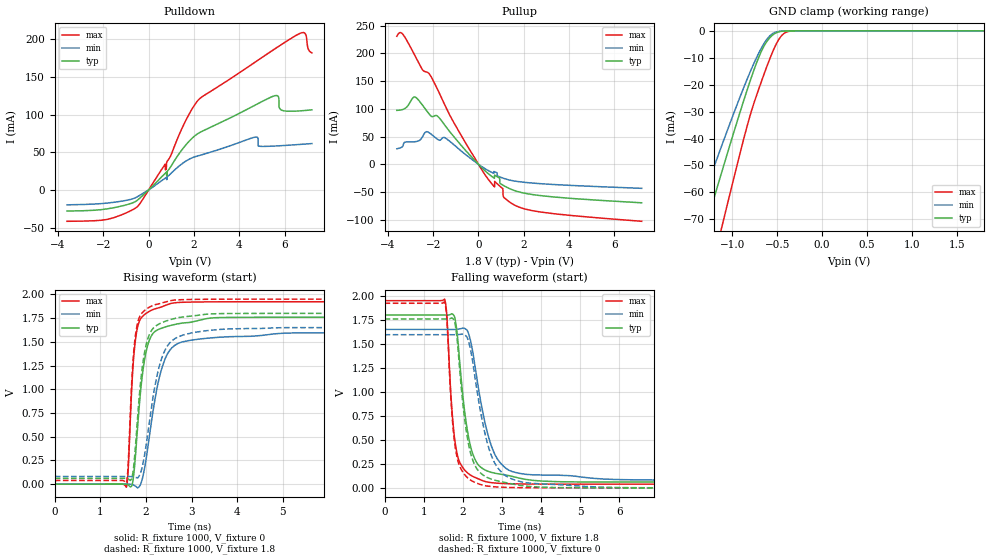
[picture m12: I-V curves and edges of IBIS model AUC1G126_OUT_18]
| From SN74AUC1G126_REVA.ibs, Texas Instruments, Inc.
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[Model]   AUC1G126_OUT_18
Model_type  3-state
Enable   Active-Low
Vref =   0
Rref =   1000
Cref =   30p
Vmeas =   0.9
| variable   typ   min   max
C_comp   7.41pF   5.09pF   18.55pF
| C_pullup   6.34pF   3.32pF   11.74pF
| C_pulldown   9.19pF   5.45pF   19.79pF
| C_tri-state   7.41pF   5.09pF   18.55pF
[Temperature Range]   40   100   -40
| Ambient temperature   25   85   -40
[Voltage range]   1.8   1.65   1.95
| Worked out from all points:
|   slope of the pulldown table from 0 to 0.27 V, typ, clamps not added: 34.4 ohm
|   slope of the pullup table from 0 to 0.27 V, typ, clamps not added: 24.6 ohm
|   GND clamp passes 1 mA (typ) near -0.53 V on its own axis
|   rising waveform, R_fixture 1000, V_fixture 0: 20-80 % time 231ps typ, 365ps min, 142ps max; typ from 0 V to 1.76 V
|   falling waveform, R_fixture 1000, V_fixture 1.8: 20-80 % time 320ps typ, 483ps min, 201ps max; typ from 1.8 V to 0.061 V
|   rising waveform, R_fixture 1000, V_fixture 1.8: 20-80 % time 226ps typ, 354ps min, 139ps max; typ from 0.061 V to 1.8 V
|   falling waveform, R_fixture 1000, V_fixture 0: 20-80 % time 319ps typ, 479ps min, 201ps max; typ from 1.76 V to 0 V
[GND Clamp]
| AUC1G126_OUT_18
|   Voltage   I(typ)   I(min)   I(max)
-3.6V     -338.8mA   -286.3mA   -409.7mA
-1.44V    -88.88mA   -72.66mA   -117.1mA
-1.285V   -71.24mA   -58.05mA   -95.84mA
-1.14V    -54.92mA   -44.63mA   -75.98mA
-1.095V   -49.91mA   -40.54mA   -69.84mA
-840mV    -22.47mA   -18.35mA   -35.96mA
-695mV    -8.981mA   -7.553mA   -20.59mA
-575mV    -2.299mA   -1.652mA   -9.733mA
-490mV    -465.5uA   -257.7uA   -3.617mA
-425mV    -91.45uA   -52.83uA   -990.1uA
-275mV    -1.057uA   -972.3nA   -6.251uA
1.8V      429.2pA    31.06nA    480.6pA
[Pulldown]
| AUC1G126_OUT_18
|   Voltage   I(typ)   I(min)   I(max)
-3.6V     -28.02mA   -19.77mA   -41.61mA
-570mV    -15.18mA   -10.2mA    -23.87mA
780mV     23.41mA    16.52mA    27.8mA
1.53V     55.61mA    35.96mA    85.47mA
2.26V     76.24mA    45.87mA    121.3mA
4.705V    112.6mA    70.03mA    169.6mA
4.835V    114.6mA    58.3mA     172.3mA
5.575V    125mA      58.22mA    187.2mA
5.845V    106.1mA    58.68mA    192.6mA
6.69V     104.8mA    60.37mA    207.8mA
6.915V    105.4mA    60.85mA    206.9mA
7.2V      106.2mA    61.47mA    181.7mA
[Pullup]
| AUC1G126_OUT_18
|   Voltage   I(typ)   I(min)   I(max)
-3.6V     97.21mA    27.98mA    230.6mA
-3.35V    98.65mA    32.03mA    234.9mA
-2.755V   120.2mA    40.97mA    192.2mA
-2.295V   97.07mA    58.73mA    166.3mA
-1.495V   71.17mA    48.15mA    108mA
225mV     -9.265mA   -6.217mA   -14.9mA
710mV     -19.38mA   -13.4mA    -40.76mA
1.075V    -37.42mA   -24.78mA   -43.8mA
1.095V    -37.9mA    -25.06mA   -57.63mA
1.31V     -42.56mA   -27.71mA   -66.07mA
2.685V    -56.12mA   -34.74mA   -85.59mA
7.2V      -69.32mA   -43.26mA   -102.6mA
[Ramp]
| AUC1G126_OUT_18
| variable   typ   min   max
dV/dt_r   1.07/2.35E-10   0.98/3.72E-10   1.17/1.44E-10
dV/dt_f   1.05/3.24E-10   0.95/4.90E-10   1.16/2.03E-10
R_load = 1000
[Rising Waveform]
| AUC1G126_OUT_18
R_fixture =   1000
C_fixture =   0
L_fixture =   0
V_fixture =   0
V_fixture_min = 0
V_fixture_max = 0
|   Time   V(typ)   V(min)   V(max)
0s        6.96nV     23.5nV     1.103nV
1.57ns    -833.4uV   600.2uV    -32.45mV
1.61ns    -7.363mV   754.3uV    146mV
1.705ns   9.895mV    -5.155mV   1.153V
1.825ns   650.3mV    -38.09mV   1.671V
1.94ns    1.217V     94.47mV    1.775V
2.07ns    1.51V      483.5mV    1.82V
2.325ns   1.64V      1.183V     1.865V
2.63ns    1.683V     1.462V     1.911V
34.99ns   1.759V     1.595V     1.923V
[Falling Waveform]
| AUC1G126_OUT_18
R_fixture =   1000
C_fixture =   0
L_fixture =   0
V_fixture =   1.8
V_fixture_min = 1.65
V_fixture_max = 1.95
|   Time   V(typ)   V(min)   V(max)
0s        1.8V       1.65V      1.95V
1.535ns   1.8V       1.65V      1.964V
1.595ns   1.799V     1.65V      1.761V
1.735ns   1.811V     1.649V     734.3mV
1.87ns    1.542V     1.653V     325mV
2.2ns     424.3mV    1.524V     131.2mV
2.72ns    162mV      446.1mV    54.53mV
3.27ns    118.1mV    167.8mV    41.86mV
5.91ns    60.83mV    86.46mV    38.59mV
34.99ns   61.05mV    81.2mV     38.68mV
[Rising Waveform]
| AUC1G126_OUT_18
R_fixture =   1000
C_fixture =   0
L_fixture =   0
V_fixture =   1.8
V_fixture_min = 1.65
V_fixture_max = 1.95
|   Time   V(typ)   V(min)   V(max)
0s        61.05mV    81.2mV     38.68mV
1.57ns    60.29mV    81.6mV     13.41mV
1.61ns    54.89mV    81.71mV    206.3mV
1.705ns   94.75mV    77.56mV    1.215V
1.82ns    722.3mV    66.39mV    1.705V
1.93ns    1.267V     205.4mV    1.812V
2.06ns    1.558V     601mV      1.861V
2.305ns   1.692V     1.263V     1.903V
2.61ns    1.744V     1.526V     1.939V
34.99ns   1.8V       1.65V      1.95V
[Falling Waveform]
| AUC1G126_OUT_18
R_fixture =   1000
C_fixture =   0
L_fixture =   0
V_fixture =   0
V_fixture_min = 0
V_fixture_max = 0
|   Time   V(typ)   V(min)   V(max)
0s        1.759V     1.595V     1.923V
1.535ns   1.759V     1.595V     1.935V
1.59ns    1.759V     1.595V     1.756V
1.735ns   1.767V     1.595V     693.4mV
1.86ns    1.518V     1.597V     301.7mV
2.17ns    405.2mV    1.485V     88.37mV
2.62ns    108.6mV    474.8mV    18.75mV
3.27ns    39.66mV    89.55mV    3.222mV
5.5ns     -130.7uV   7.795mV    -132.3uV
34.99ns   2.531uV    -1.122uV   339.5nV
